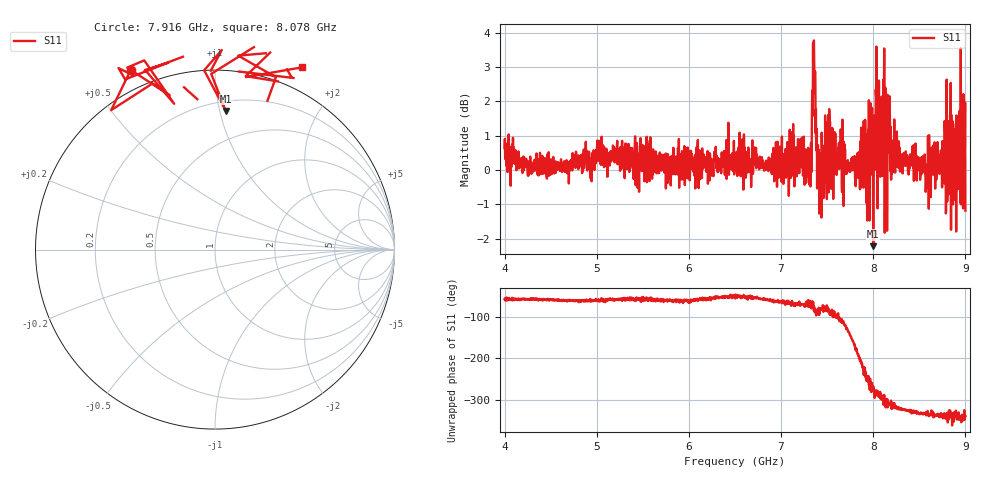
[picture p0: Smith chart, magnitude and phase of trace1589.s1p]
! Created with skrf 1.8.0 (http://scikit-rf.org).
# Hz S RI R 50.0
!freq ReS11 ImS11
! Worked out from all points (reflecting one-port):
!   1601 points, 4 GHz to 9 GHz, reference 50 ohm
!   lowest |S11| = -2.2 dB at 8 GHz (marker M1), VSWR 7.85, Z = 13.6 + j52.2 ohm
!   phase of S11 starts at -58 deg and turns -281 deg over the sweep
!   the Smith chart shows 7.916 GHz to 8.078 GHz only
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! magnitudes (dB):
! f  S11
! 4 GHz  0.6
! 4.041 GHz  0.4
! 4.625 GHz  -0.1
! 5.25 GHz  0.3
! 5.875 GHz  0.2
! 6.5 GHz  0.5
! 7.125 GHz  0.3
! 7.228 GHz  0.9
! 7.306 GHz  0.1
! 7.359 GHz  3.3
! 7.412 GHz  0.0
! 7.441 GHz  1.1
! 7.466 GHz  0.1
! 7.538 GHz  0.6
! 7.75 GHz  -0.1
! 8 GHz  -2.2
! 8.047 GHz  -1.1
! 8.066 GHz  0.7
! 8.097 GHz  -0.2
! 8.216 GHz  0.6
! 8.375 GHz  0.2
! 8.591 GHz  0.2
! 8.656 GHz  0.5
! 8.766 GHz  0.8
! 8.816 GHz  0.2
! 8.875 GHz  1.1
! 8.972 GHz  0.4
! 9 GHz  -1.2
